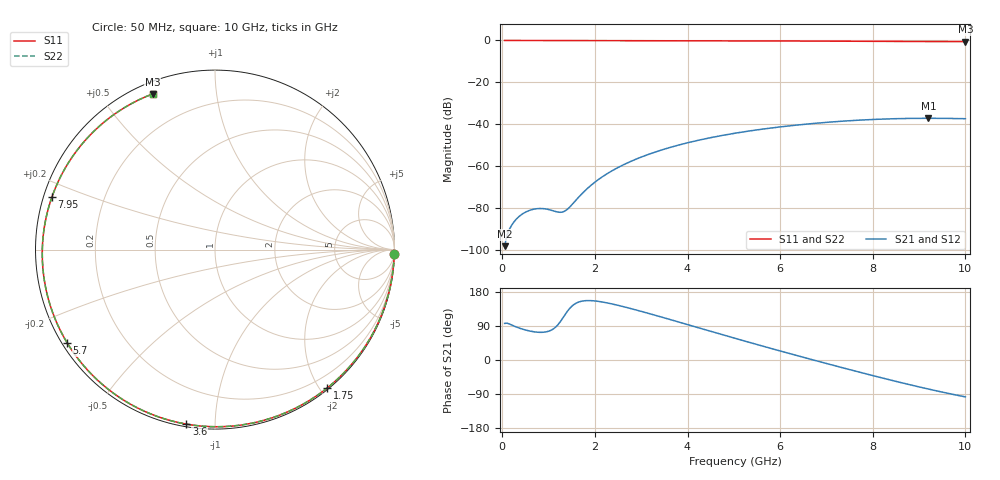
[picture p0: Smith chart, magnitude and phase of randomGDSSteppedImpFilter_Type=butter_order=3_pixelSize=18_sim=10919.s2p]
! freq	dB(S11)	phase(S11)	dB(S12)	phase(S12)
!  dB(S21)	phase(S21)	dB(S22)	phase(S22)
!S-par simulation data
#  GHz  S  DB  R 50
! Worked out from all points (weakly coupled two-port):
!   200 points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, 50 MHz to 10 GHz, reference 50 ohm
!   highest |S21| = -37.16 dB at 9.2 GHz (marker M1); lowest = -98.2 dB at 50 MHz (marker M2)
!   lowest |S11| = -0.6 dB at 10 GHz (marker M3), VSWR 29.41, Z = 2.48 + j33.8 ohm
!   |S11| at or under -10 dB: nowhere
!   |S22| runs from -0.6 to 0.0 dB; largest |S21 - S12| = 0
!   S11 on the Smith chart (normalised r, x): 50 MHz: 1, -79; 1.75 GHz: 0.02, -2.10; 3.6 GHz: 0.01, -0.85; 5.7 GHz: 0.01, -0.29; 7.95 GHz: 0.02, +0.16; 10 GHz: 0.05, +0.68
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0.05  -0.00 -1.5  -98.20 96.5  -98.20 96.5  -0.00 -1.5
0.4  -0.02 -11.9  -83.37 82.8  -83.37 82.8  -0.02 -11.9
0.7  -0.03 -20.8  -80.46 74.1  -80.46 74.1  -0.03 -20.8
1.4  -0.05 -41.1  -80.69 127.6  -80.69 127.6  -0.05 -41.1
1.45  -0.05 -42.5  -79.67 135.4  -79.67 135.4  -0.05 -42.5
1.75  -0.06 -51.0  -72.49 155.9  -72.49 155.9  -0.06 -51.0
2.05  -0.07 -59.2  -66.80 155.1  -66.80 155.1  -0.07 -59.2
2.45  -0.09 -70.0  -61.23 145.7  -61.23 145.7  -0.09 -70.0
2.9  -0.10 -81.8  -56.55 131.7  -56.55 131.7  -0.10 -81.8
3.4  -0.12 -94.4  -52.56 114.6  -52.56 114.6  -0.12 -94.4
3.6  -0.13 -99.3  -51.22 107.6  -51.22 107.6  -0.13 -99.3
4.3  -0.16 -116.1  -47.32 82.8  -47.32 82.8  -0.16 -116.1
5.05  -0.19 -133.3  -44.19 56.4  -44.19 56.4  -0.19 -133.3
5.7  -0.23 -147.8  -42.09 34.0  -42.09 34.0  -0.23 -147.8
6.2  -0.26 -158.8  -40.77 17.1  -40.77 17.1  -0.26 -158.8
6.7  -0.30 -169.8  -39.66 0.5  -39.66 0.5  -0.30 -169.8
7.35  -0.35 175.7  -38.52 -20.6  -38.52 -20.6  -0.35 175.7
7.95  -0.40 162.1  -37.77 -39.6  -37.77 -39.6  -0.40 162.1
8.35  -0.44 152.8  -37.44 -51.9  -37.44 -51.9  -0.44 152.7
8.75  -0.48 143.3  -37.23 -63.8  -37.23 -63.8  -0.48 143.2
9.2  -0.52 132.3  -37.16 -76.6  -37.16 -76.6  -0.52 132.2
10  -0.59 111.8  -37.36 -97.4  -37.36 -97.4  -0.59 111.6
